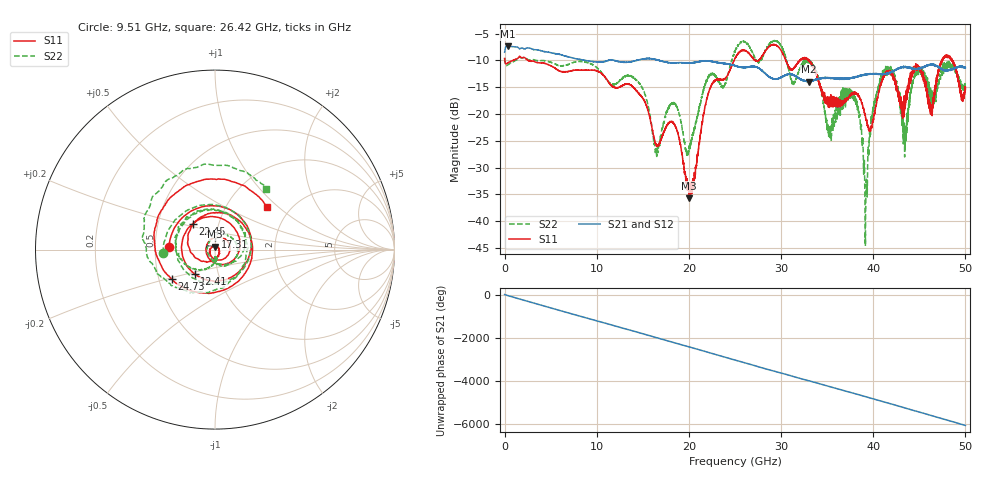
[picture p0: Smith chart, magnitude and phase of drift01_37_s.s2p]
!Created with skrf (http://scikit-rf.org).
# Hz S RI R 50.0
!freq ReS11 ImS11 ReS21 ImS21 ReS12 ImS12 ReS22 ImS22
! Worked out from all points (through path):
!   10001 points, 300 kHz to 50 GHz, reference 50 ohm
!   highest |S21| = -7.33 dB at 325.3 MHz (marker M1); lowest = -14.0 dB at 33.02 GHz (marker M2)
!   group delay of S21, straight-line fit = 335 ps
!   lowest |S11| = -35.8 dB at 20.01 GHz (marker M3), VSWR 1.03, Z = 49.9 + j1.62 ohm
!   |S11| at or under -10 dB: 2.566 GHz to 24.91 GHz (22.34 GHz wide, 163 % of centre); 30.51 GHz to 32.02 GHz (1.51 GHz wide, 4.83 % of centre); 33.07 GHz to 47.44 GHz (14.37 GHz wide, 35.7 % of centre) (the widest 3 of 24)
!   |S22| runs from -44.7 to -6.3 dB; largest |S21 - S12| = 0.0082
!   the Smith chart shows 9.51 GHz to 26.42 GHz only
!   S11 on the Smith chart (normalised r, x): 9.51 GHz: 0.59, +0.02; 12.41 GHz: 0.77, -0.22; 17.31 GHz: 0.99, +0.14; 22.45 GHz: 0.75, +0.22; 24.73 GHz: 0.59, -0.21; 26.42 GHz: 1.53, +0.85
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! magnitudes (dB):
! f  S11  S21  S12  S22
! 300 kHz  -9.6  -8.5  -8.5  -9.6
! 325.3 MHz  -10.5  -7.3  -7.3  -10.9
! 8.335 GHz  -11.8  -9.9  -9.9  -10.2
! 9.51 GHz  -11.8  -10.2  -10.2  -10.8
! 12.41 GHz  -15.0  -10.2  -10.2  -13.9
! 16.67 GHz  -26.0  -10.0  -10.0  -27.1
! 17.31 GHz  -23.3  -10.3  -10.3  -21.6
! 20.01 GHz  -35.8  -10.5  -10.5  -26.3
! 22.45 GHz  -14.6  -10.2  -10.2  -12.5
! 24.73 GHz  -10.7  -10.8  -10.9  -9.5
! 25 GHz  -9.6  -11.0  -11.0  -8.3
! 26.42 GHz  -8.5  -11.2  -11.3  -7.0
! 33.02 GHz  -10.0  -14.0  -13.9  -10.1
! 33.34 GHz  -10.8  -13.8  -13.8  -10.5
! 35.23 GHz  -17.4  -13.3  -13.3  -22.4
! 37.96 GHz  -16.1  -13.2  -13.2  -17.3
! 39.17 GHz  -20.6  -12.7  -12.6  -41.7
! 40.14 GHz  -19.9  -12.5  -12.5  -17.8
! 41.67 GHz  -12.1  -12.3  -12.4  -12.0
! 43.39 GHz  -16.9  -11.2  -11.2  -24.0
! 44.84 GHz  -11.1  -11.6  -11.6  -12.7
! 50 GHz  -15.4  -11.4  -11.4  -14.9
